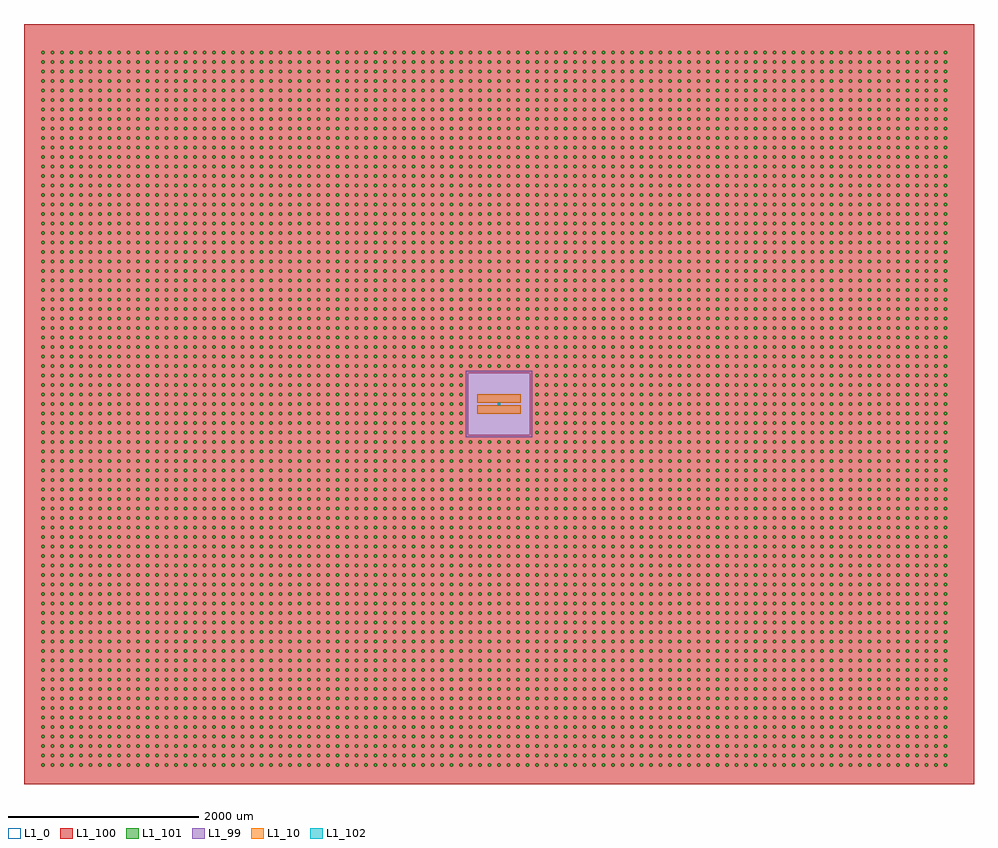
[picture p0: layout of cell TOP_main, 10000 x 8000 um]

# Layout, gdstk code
import gdstk
lib = gdstk.Library(unit=1e-6, precision=1e-09)
def R(c, l, rs):  # rectangles x0, y0, x1, y1
    for r in rs: c.add(gdstk.rectangle(r[:2], r[2:], *l))
def A(c, l, x, y, w, h, nx, ny, dx, dy):  # array of equal rectangles
    R(c, l, [(x+i*dx, y+j*dy, x+i*dx+w, y+j*dy+h) for i in range(nx) for j in range(ny)])
def P(c, l, *ps):  # polygons
    for p in ps: c.add(gdstk.Polygon(p, *l))
L1_0 = (1, 0)
L1_10 = (1, 10)
L1_99 = (1, 99)
L1_100 = (1, 100)
L1_101 = (1, 101)
L1_102 = (1, 102)

ground_main_1 = lib.new_cell('ground_main_1')
P(ground_main_1, L1_0, [(5000,4000),(-5000,4000),(-5000,-325),(-325,-325),(-325,325),(325,325),(325,-325),(-325,-325),(-5000,-325),(-5000,-4000),(5000,-4000)])

top_main_1_one_hole = lib.new_cell('TOP_main_1_one_hole')
P(top_main_1_one_hole, L1_102, [(12.5,-12.5),(12.5,12.5),(-12.5,12.5),(-12.5,-12.5),(12.5,-12.5)])

top_main_1_cheese_diff = lib.new_cell('TOP_main_1_Cheese_diff')
A(top_main_1_cheese_diff, L1_101, -4812.5, -3812.5, 25, 25, 96, 35, 100, 100)
A(top_main_1_cheese_diff, L1_101, -4812.5, -312.5, 25, 25, 45, 7, 100, 100)
A(top_main_1_cheese_diff, L1_101, 387.5, -312.5, 25, 25, 44, 7, 100, 100)
A(top_main_1_cheese_diff, L1_101, -4812.5, 387.5, 25, 25, 96, 34, 100, 100)

top_main_1_cheese_100 = lib.new_cell('TOP_main_1_Cheese_100')
A(top_main_1_cheese_100, L1_100, -4812.5, -4000, 25, 187.5, 95, 1, 100, 0)
A(top_main_1_cheese_100, L1_100, -4787.5, -4000, 75, 8000, 44, 1, 100, 0)
A(top_main_1_cheese_100, L1_100, -287.5, -4000, 75, 3675, 6, 2, 100, 4325)
A(top_main_1_cheese_100, L1_100, 412.5, -4000, 75, 8000, 43, 1, 100, 0)
A(top_main_1_cheese_100, L1_100, -4812.5, -3787.5, 25, 75, 95, 34, 100, 100)
A(top_main_1_cheese_100, L1_100, -4812.5, -387.5, 25, 75, 45, 8, 100, 100)
A(top_main_1_cheese_100, L1_100, -312.5, -387.5, 25, 62.5, 7, 2, 100, 712.5)
A(top_main_1_cheese_100, L1_100, 387.5, -387.5, 25, 75, 43, 8, 100, 100)
A(top_main_1_cheese_100, L1_100, -4812.5, 412.5, 25, 75, 95, 33, 100, 100)
A(top_main_1_cheese_100, L1_100, -4812.5, 3712.5, 25, 287.5, 95, 1, 100, 0)
R(top_main_1_cheese_100, L1_100, [(-5000,-4000,-4812.5,4000)])
P(top_main_1_cheese_100, L1_100, [(-312.5,325),(-312.5,4000),(-387.5,4000),(-387.5,-4000),(-312.5,-4000),(-312.5,-325),(-325,-325),(-325,325)],
  [(325,325),(325,-325),(312.5,-325),(312.5,-4000),(387.5,-4000),(387.5,4000),(312.5,4000),(312.5,325)],
  [(5000,-12.5),(4687.5,-12.5),(4687.5,-87.5),(4712.5,-87.5),(4712.5,-112.5),(4687.5,-112.5),(4687.5,-187.5),(4712.5,-187.5),(4712.5,-212.5),(4687.5,-212.5),(4687.5,-287.5),(4712.5,-287.5),(4712.5,-312.5),(4687.5,-312.5),(4687.5,-387.5),(4712.5,-387.5),(4712.5,-412.5),(4687.5,-412.5),(4687.5,-487.5),(4712.5,-487.5),(4712.5,-512.5),(4687.5,-512.5),(4687.5,-587.5),(4712.5,-587.5),(4712.5,-612.5),(4687.5,-612.5),(4687.5,-687.5),(4712.5,-687.5),(4712.5,-712.5),(4687.5,-712.5),(4687.5,-787.5),(4712.5,-787.5),(4712.5,-812.5),(4687.5,-812.5),(4687.5,-887.5),(4712.5,-887.5),(4712.5,-912.5),(4687.5,-912.5),(4687.5,-987.5),(4712.5,-987.5),(4712.5,-1012.5),(4687.5,-1012.5),(4687.5,-1087.5),(4712.5,-1087.5),(4712.5,-1112.5),(4687.5,-1112.5),(4687.5,-1187.5),(4712.5,-1187.5),(4712.5,-1212.5),(4687.5,-1212.5),(4687.5,-1287.5),(4712.5,-1287.5),(4712.5,-1312.5),(4687.5,-1312.5),(4687.5,-1387.5),(4712.5,-1387.5),(4712.5,-1412.5),(4687.5,-1412.5),(4687.5,-1487.5),(4712.5,-1487.5),(4712.5,-1512.5),(4687.5,-1512.5),(4687.5,-1587.5),(4712.5,-1587.5),(4712.5,-1612.5),(4687.5,-1612.5),(4687.5,-1687.5),(4712.5,-1687.5),(4712.5,-1712.5),(4687.5,-1712.5),(4687.5,-1787.5),(4712.5,-1787.5),(4712.5,-1812.5),(4687.5,-1812.5),(4687.5,-1887.5),(4712.5,-1887.5),(4712.5,-1912.5),(4687.5,-1912.5),(4687.5,-1987.5),(4712.5,-1987.5),(4712.5,-2012.5),(4687.5,-2012.5),(4687.5,-2087.5),(4712.5,-2087.5),(4712.5,-2112.5),(4687.5,-2112.5),(4687.5,-2187.5),(4712.5,-2187.5),(4712.5,-2212.5),(4687.5,-2212.5),(4687.5,-2287.5),(4712.5,-2287.5),(4712.5,-2312.5),(4687.5,-2312.5),(4687.5,-2387.5),(4712.5,-2387.5),(4712.5,-2412.5),(4687.5,-2412.5),(4687.5,-2487.5),(4712.5,-2487.5),(4712.5,-2512.5),(4687.5,-2512.5),(4687.5,-2587.5),(4712.5,-2587.5),(4712.5,-2612.5),(4687.5,-2612.5),(4687.5,-2687.5),(4712.5,-2687.5),(4712.5,-2712.5),(4687.5,-2712.5),(4687.5,-2787.5),(4712.5,-2787.5),(4712.5,-2812.5),(4687.5,-2812.5),(4687.5,-2887.5),(4712.5,-2887.5),(4712.5,-2912.5),(4687.5,-2912.5),(4687.5,-2987.5),(4712.5,-2987.5),(4712.5,-3012.5),(4687.5,-3012.5),(4687.5,-3087.5),(4712.5,-3087.5),(4712.5,-3112.5),(4687.5,-3112.5),(4687.5,-3187.5),(4712.5,-3187.5),(4712.5,-3212.5),(4687.5,-3212.5),(4687.5,-3287.5),(4712.5,-3287.5),(4712.5,-3312.5),(4687.5,-3312.5),(4687.5,-3387.5),(4712.5,-3387.5),(4712.5,-3412.5),(4687.5,-3412.5),(4687.5,-3487.5),(4712.5,-3487.5),(4712.5,-3512.5),(4687.5,-3512.5),(4687.5,-3587.5),(4712.5,-3587.5),(4712.5,-3612.5),(4687.5,-3612.5),(4687.5,-3687.5),(4712.5,-3687.5),(4712.5,-3712.5),(4687.5,-3712.5),(4687.5,-3787.5),(4712.5,-3787.5),(4712.5,-3812.5),(4687.5,-3812.5),(4687.5,-4000),(5000,-4000)],
  [(5000,4000),(4687.5,4000),(4687.5,3712.5),(4712.5,3712.5),(4712.5,3687.5),(4687.5,3687.5),(4687.5,3612.5),(4712.5,3612.5),(4712.5,3587.5),(4687.5,3587.5),(4687.5,3512.5),(4712.5,3512.5),(4712.5,3487.5),(4687.5,3487.5),(4687.5,3412.5),(4712.5,3412.5),(4712.5,3387.5),(4687.5,3387.5),(4687.5,3312.5),(4712.5,3312.5),(4712.5,3287.5),(4687.5,3287.5),(4687.5,3212.5),(4712.5,3212.5),(4712.5,3187.5),(4687.5,3187.5),(4687.5,3112.5),(4712.5,3112.5),(4712.5,3087.5),(4687.5,3087.5),(4687.5,3012.5),(4712.5,3012.5),(4712.5,2987.5),(4687.5,2987.5),(4687.5,2912.5),(4712.5,2912.5),(4712.5,2887.5),(4687.5,2887.5),(4687.5,2812.5),(4712.5,2812.5),(4712.5,2787.5),(4687.5,2787.5),(4687.5,2712.5),(4712.5,2712.5),(4712.5,2687.5),(4687.5,2687.5),(4687.5,2612.5),(4712.5,2612.5),(4712.5,2587.5),(4687.5,2587.5),(4687.5,2512.5),(4712.5,2512.5),(4712.5,2487.5),(4687.5,2487.5),(4687.5,2412.5),(4712.5,2412.5),(4712.5,2387.5),(4687.5,2387.5),(4687.5,2312.5),(4712.5,2312.5),(4712.5,2287.5),(4687.5,2287.5),(4687.5,2212.5),(4712.5,2212.5),(4712.5,2187.5),(4687.5,2187.5),(4687.5,2112.5),(4712.5,2112.5),(4712.5,2087.5),(4687.5,2087.5),(4687.5,2012.5),(4712.5,2012.5),(4712.5,1987.5),(4687.5,1987.5),(4687.5,1912.5),(4712.5,1912.5),(4712.5,1887.5),(4687.5,1887.5),(4687.5,1812.5),(4712.5,1812.5),(4712.5,1787.5),(4687.5,1787.5),(4687.5,1712.5),(4712.5,1712.5),(4712.5,1687.5),(4687.5,1687.5),(4687.5,1612.5),(4712.5,1612.5),(4712.5,1587.5),(4687.5,1587.5),(4687.5,1512.5),(4712.5,1512.5),(4712.5,1487.5),(4687.5,1487.5),(4687.5,1412.5),(4712.5,1412.5),(4712.5,1387.5),(4687.5,1387.5),(4687.5,1312.5),(4712.5,1312.5),(4712.5,1287.5),(4687.5,1287.5),(4687.5,1212.5),(4712.5,1212.5),(4712.5,1187.5),(4687.5,1187.5),(4687.5,1112.5),(4712.5,1112.5),(4712.5,1087.5),(4687.5,1087.5),(4687.5,1012.5),(4712.5,1012.5),(4712.5,987.5),(4687.5,987.5),(4687.5,912.5),(4712.5,912.5),(4712.5,887.5),(4687.5,887.5),(4687.5,812.5),(4712.5,812.5),(4712.5,787.5),(4687.5,787.5),(4687.5,712.5),(4712.5,712.5),(4712.5,687.5),(4687.5,687.5),(4687.5,612.5),(4712.5,612.5),(4712.5,587.5),(4687.5,587.5),(4687.5,512.5),(4712.5,512.5),(4712.5,487.5),(4687.5,487.5),(4687.5,412.5),(4712.5,412.5),(4712.5,387.5),(4687.5,387.5),(4687.5,312.5),(4712.5,312.5),(4712.5,287.5),(4687.5,287.5),(4687.5,212.5),(4712.5,212.5),(4712.5,187.5),(4687.5,187.5),(4687.5,112.5),(4712.5,112.5),(4712.5,87.5),(4687.5,87.5),(4687.5,12.5),(4712.5,12.5),(4712.5,-12.5),(5000,-12.5)])

top_main_1 = lib.new_cell('TOP_main_1')
P(top_main_1, L1_10, [(-227.5,15),(227.5,15),(227.5,105),(-227.5,105),(-227.5,15)],
  [(-227.5,-105),(227.5,-105),(227.5,-15),(-227.5,-15),(-227.5,-105)],
  [(-227.5,15),(227.5,15),(227.5,105),(-227.5,105),(-227.5,15)],
  [(-227.5,-105),(227.5,-105),(227.5,-15),(-227.5,-15),(-227.5,-105)])
top_main_1.add(gdstk.Reference(ground_main_1, (0,0)))
top_main_1.add(gdstk.Reference(top_main_1_one_hole, (0,0)))
top_main_1.add(gdstk.Reference(top_main_1_cheese_diff, (0,0)))
top_main_1.add(gdstk.Reference(top_main_1_cheese_100, (0,0)))

top_main_1_nocheese_99 = lib.new_cell('TOP_main_1_NoCheese_99')
P(top_main_1_nocheese_99, L1_99, [(-350,-350),(-350,350),(350,350),(350,-350),(-350,-350)])

top_main = lib.new_cell('TOP_main')
top_main.add(gdstk.Reference(top_main_1, (0,0)))
top_main.add(gdstk.Reference(top_main_1_nocheese_99, (0,0)))

lib.write_gds('TOP_main.gds')
